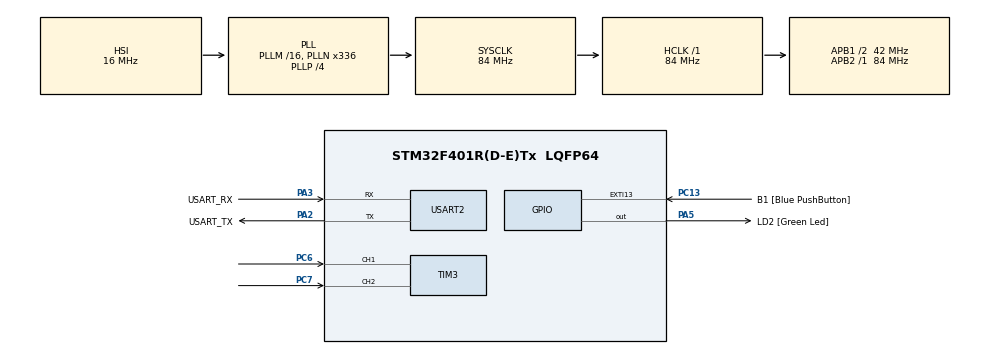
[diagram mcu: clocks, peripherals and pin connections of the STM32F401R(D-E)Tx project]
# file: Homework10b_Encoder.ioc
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Dma.Request0=USART2_TX
Dma.USART2_TX.0.Direction=DMA_MEMORY_TO_PERIPH
Dma.USART2_TX.0.FIFOMode=DMA_FIFOMODE_DISABLE
Dma.USART2_TX.0.Instance=DMA1_Stream6
Dma.USART2_TX.0.MemDataAlignment=DMA_MDATAALIGN_BYTE
Dma.USART2_TX.0.MemInc=DMA_MINC_ENABLE
Dma.USART2_TX.0.Mode=DMA_NORMAL
Dma.USART2_TX.0.PeriphDataAlignment=DMA_PDATAALIGN_BYTE
Dma.USART2_TX.0.PeriphInc=DMA_PINC_DISABLE
Dma.USART2_TX.0.Priority=DMA_PRIORITY_LOW
Mcu.Family=STM32F4
Mcu.Name=STM32F401R(D-E)Tx
Mcu.Package=LQFP64
NVIC.DMA1_Stream6_IRQn=true\:0\:0\:false\:false\:true\:false\:true\:true
NVIC.PriorityGroup=NVIC_PRIORITYGROUP_4
NVIC.TIM2_IRQn=true\:0\:0\:false\:false\:true\:true\:true\:true
NVIC.USART2_IRQn=true\:0\:0\:false\:false\:true\:true\:true\:true
PA13.GPIO_Label=TMS
PA13.Mode=Trace_Asynchronous_SW
PA13.Signal=SYS_JTMS-SWDIO
PA14.GPIO_Label=TCK
PA14.Mode=Trace_Asynchronous_SW
PA14.Signal=SYS_JTCK-SWCLK
PA2.GPIO_Label=USART_TX
PA2.GPIO_Mode=GPIO_MODE_AF_PP
PA2.GPIO_PuPd=GPIO_NOPULL
PA2.GPIO_Speed=GPIO_SPEED_FREQ_LOW
PA2.Mode=Asynchronous
PA2.Signal=USART2_TX
PA3.GPIO_Label=USART_RX
PA3.GPIO_Mode=GPIO_MODE_AF_PP
PA3.GPIO_PuPd=GPIO_NOPULL
PA3.GPIO_Speed=GPIO_SPEED_FREQ_LOW
PA3.Mode=Asynchronous
PA3.Signal=USART2_RX
PA5.GPIO_Label=LD2 [Green Led]
PA5.GPIO_Mode=GPIO_MODE_OUTPUT_PP
PA5.GPIO_PuPd=GPIO_NOPULL
PA5.GPIO_Speed=GPIO_SPEED_FREQ_LOW
PA5.Signal=GPIO_Output
PB3.GPIO_Label=SWO
PB3.Mode=Trace_Asynchronous_SW
PB3.Signal=SYS_JTDO-SWO
PC13-ANTI_TAMP.GPIO_Label=B1 [Blue PushButton]
PC13-ANTI_TAMP.GPIO_ModeDefaultEXTI=GPIO_MODE_IT_FALLING
PC13-ANTI_TAMP.GPIO_PuPd=GPIO_NOPULL
PC13-ANTI_TAMP.Signal=GPXTI13
PC14-OSC32_IN.Mode=LSE-External-Oscillator
PC14-OSC32_IN.Signal=RCC_OSC32_IN
PC15-OSC32_OUT.Mode=LSE-External-Oscillator
PC15-OSC32_OUT.Signal=RCC_OSC32_OUT
PC6.Signal=S_TIM3_CH1
PC7.Signal=S_TIM3_CH2
PH0\ -\ OSC_IN.Mode=HSE-External-Clock-Source
PH0\ -\ OSC_IN.Signal=RCC_OSC_IN
PH1\ -\ OSC_OUT.Mode=HSE-External-Clock-Source
PH1\ -\ OSC_OUT.Signal=RCC_OSC_OUT
ProjectManager.HeapSize=0x200
ProjectManager.StackSize=0x400
ProjectManager.TargetToolchain=STM32CubeIDE
RCC.48MHZClocksFreq_Value=48000000
RCC.AHBFreq_Value=84000000
RCC.APB1CLKDivider=RCC_HCLK_DIV2
RCC.APB1Freq_Value=42000000
RCC.APB1TimFreq_Value=84000000
RCC.APB2Freq_Value=84000000
RCC.APB2TimFreq_Value=84000000
RCC.CortexFreq_Value=84000000
RCC.HCLKFreq_Value=84000000
RCC.HSE_VALUE=8000000
RCC.HSI_VALUE=16000000
RCC.PLLN=336
RCC.PLLP=RCC_PLLP_DIV4
RCC.PLLQ=7
RCC.SYSCLKFreq_VALUE=84000000
RCC.SYSCLKSource=RCC_SYSCLKSOURCE_PLLCLK
RCC.VCOOutputFreq_Value=336000000
SH.S_TIM3_CH1.0=TIM3_CH1,Encoder_Interface
SH.S_TIM3_CH2.0=TIM3_CH2,Encoder_Interface
TIM2.Period=10000-1
TIM2.Prescaler=8400-1
TIM3.EncoderMode=TIM_ENCODERMODE_TI1
TIM3.IC1Filter=15
TIM3.IC1Polarity=TIM_ICPOLARITY_RISING
TIM3.IC2Filter=15
TIM3.IC2Polarity=TIM_ICPOLARITY_FALLING
USART2.VirtualMode=VM_ASYNC
VP_TIM2_VS_ClockSourceINT.Mode=Internal
board=NUCLEO-F401RE

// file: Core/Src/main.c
/* USER CODE BEGIN Header */
/**
  ******************************************************************************
  * @file           : main.c
  * @brief          : Main program body
  ******************************************************************************
  * @attention
  *
  * Copyright (c) 2025 STMicroelectronics.
  * All rights reserved.
  *
  * This software is licensed under terms that can be found in the LICENSE file
  * in the root directory of this software component.
  * If no LICENSE file comes with this software, it is provided AS-IS.
  *
  ******************************************************************************
  * GOAL:
  * Read the encoder position and send to the PC the rotation speed in rpm
  *
  */
/* USER CODE END Header */
#include "main.h"

/* USER CODE BEGIN Includes */
#include "stdio.h"
#include "string.h"
/* USER CODE END Includes */

/* USER CODE BEGIN PTD */

#define STR_LEN 32
#define FULL_CYCLE_RPMS 24.0 //One cycle is 24 counts
#define SEC_TO_MIN 60

/* USER CODE END PTD */

TIM_HandleTypeDef htim2;
TIM_HandleTypeDef htim3;

UART_HandleTypeDef huart2;
DMA_HandleTypeDef hdma_usart2_tx;

/* USER CODE BEGIN PV */

//signed to solve overflow/underflow problem of timer counter
int16_t counter = 0;
int16_t old_counter = 0;
int16_t delta = 0;

float rpm_value = 0;

/*For UART transmission to PC*/
int length = 0;
char string[STR_LEN];

/* USER CODE END PV */

void SystemClock_Config(void);
static void MX_GPIO_Init(void);
static void MX_DMA_Init(void);
static void MX_USART2_UART_Init(void);
static void MX_TIM3_Init(void);
static void MX_TIM2_Init(void);

/* USER CODE BEGIN 0 */

//timer 2 callback called every second
void HAL_TIM_PeriodElapsedCallback (TIM_HandleTypeDef *htim) {

	if (htim == &htim2) {

		/*Getting the counter value*/
		counter = __HAL_TIM_GET_COUNTER(&htim3);

		/*Computing the difference*/
		delta = counter - old_counter;

		/*Updating the value*/
		old_counter = counter;

		/*Computing the RPM value*/
		rpm_value = (delta/FULL_CYCLE_RPMS)*SEC_TO_MIN;	//convert in rpm

		length = snprintf(string, sizeof(string), "Speed: %.1frpm\n", rpm_value);
		HAL_UART_Transmit_DMA(&huart2, string, length);
	}
}
/* USER CODE END 0 */

int main(void)
{

  /* MCU Configuration--------------------------------------------------------*/

  /* Reset of all peripherals, Initializes the Flash interface and the Systick. */
  HAL_Init();

  /* Configure the system clock */
  SystemClock_Config();

  /* Initialize all configured peripherals */
  MX_GPIO_Init();
  MX_DMA_Init();
  MX_USART2_UART_Init();
  MX_TIM3_Init();
  MX_TIM2_Init();
  /* USER CODE BEGIN 2 */

  HAL_TIM_Encoder_Start(&htim3, TIM_CHANNEL_ALL);	//start TIM3 in encoder mode
  __HAL_TIM_CLEAR_IT(&htim2, TIM_IT_UPDATE);		//clear interrupt request BEFORE enabling tim interrupt
  HAL_TIM_Base_Start_IT(&htim2); 					//start TIM2 in interrupt mode

  /* USER CODE END 2 */

  /* Infinite loop */
  while (1)
  {

  }
}

void SystemClock_Config(void)
{
  RCC_OscInitTypeDef RCC_OscInitStruct = {0};
  RCC_ClkInitTypeDef RCC_ClkInitStruct = {0};

  /** Configure the main internal regulator output voltage
  */
  __HAL_RCC_PWR_CLK_ENABLE();
  __HAL_PWR_VOLTAGESCALING_CONFIG(PWR_REGULATOR_VOLTAGE_SCALE2);

  /** Initializes the RCC Oscillators according to the specified parameters
  * in the RCC_OscInitTypeDef structure.
  */
  RCC_OscInitStruct.OscillatorType = RCC_OSCILLATORTYPE_HSI;
  RCC_OscInitStruct.HSIState = RCC_HSI_ON;
  RCC_OscInitStruct.HSICalibrationValue = RCC_HSICALIBRATION_DEFAULT;
  RCC_OscInitStruct.PLL.PLLState = RCC_PLL_ON;
  RCC_OscInitStruct.PLL.PLLSource = RCC_PLLSOURCE_HSI;
  RCC_OscInitStruct.PLL.PLLM = 16;
  RCC_OscInitStruct.PLL.PLLN = 336;
  RCC_OscInitStruct.PLL.PLLP = RCC_PLLP_DIV4;
  RCC_OscInitStruct.PLL.PLLQ = 7;
  if (HAL_RCC_OscConfig(&RCC_OscInitStruct) != HAL_OK)
  {
    Error_Handler();
  }

  /** Initializes the CPU, AHB and APB buses clocks
  */
  RCC_ClkInitStruct.ClockType = RCC_CLOCKTYPE_HCLK|RCC_CLOCKTYPE_SYSCLK
                              |RCC_CLOCKTYPE_PCLK1|RCC_CLOCKTYPE_PCLK2;
  RCC_ClkInitStruct.SYSCLKSource = RCC_SYSCLKSOURCE_PLLCLK;
  RCC_ClkInitStruct.AHBCLKDivider = RCC_SYSCLK_DIV1;
  RCC_ClkInitStruct.APB1CLKDivider = RCC_HCLK_DIV2;
  RCC_ClkInitStruct.APB2CLKDivider = RCC_HCLK_DIV1;

  if (HAL_RCC_ClockConfig(&RCC_ClkInitStruct, FLASH_LATENCY_2) != HAL_OK)
  {
    Error_Handler();
  }
}

static void MX_TIM2_Init(void)
{

  TIM_ClockConfigTypeDef sClockSourceConfig = {0};
  TIM_MasterConfigTypeDef sMasterConfig = {0};

  htim2.Instance = TIM2;
  htim2.Init.Prescaler = 8400-1;
  htim2.Init.CounterMode = TIM_COUNTERMODE_UP;
  htim2.Init.Period = 10000-1;
  htim2.Init.ClockDivision = TIM_CLOCKDIVISION_DIV1;
  htim2.Init.AutoReloadPreload = TIM_AUTORELOAD_PRELOAD_DISABLE;
  if (HAL_TIM_Base_Init(&htim2) != HAL_OK)
  {
    Error_Handler();
  }
  sClockSourceConfig.ClockSource = TIM_CLOCKSOURCE_INTERNAL;
  if (HAL_TIM_ConfigClockSource(&htim2, &sClockSourceConfig) != HAL_OK)
  {
    Error_Handler();
  }
  sMasterConfig.MasterOutputTrigger = TIM_TRGO_RESET;
  sMasterConfig.MasterSlaveMode = TIM_MASTERSLAVEMODE_DISABLE;
  if (HAL_TIMEx_MasterConfigSynchronization(&htim2, &sMasterConfig) != HAL_OK)
  {
    Error_Handler();
  }

}

static void MX_TIM3_Init(void)
{

  TIM_Encoder_InitTypeDef sConfig = {0};
  TIM_MasterConfigTypeDef sMasterConfig = {0};

  htim3.Instance = TIM3;
  htim3.Init.Prescaler = 0;
  htim3.Init.CounterMode = TIM_COUNTERMODE_UP;
  htim3.Init.Period = 65535;
  htim3.Init.ClockDivision = TIM_CLOCKDIVISION_DIV1;
  htim3.Init.AutoReloadPreload = TIM_AUTORELOAD_PRELOAD_DISABLE;
  sConfig.EncoderMode = TIM_ENCODERMODE_TI1;
  sConfig.IC1Polarity = TIM_ICPOLARITY_RISING;
  sConfig.IC1Selection = TIM_ICSELECTION_DIRECTTI;
  sConfig.IC1Prescaler = TIM_ICPSC_DIV1;
  sConfig.IC1Filter = 15;
  sConfig.IC2Polarity = TIM_ICPOLARITY_FALLING;
  sConfig.IC2Selection = TIM_ICSELECTION_DIRECTTI;
  sConfig.IC2Prescaler = TIM_ICPSC_DIV1;
  sConfig.IC2Filter = 15;
  if (HAL_TIM_Encoder_Init(&htim3, &sConfig) != HAL_OK)
  {
    Error_Handler();
  }
  sMasterConfig.MasterOutputTrigger = TIM_TRGO_RESET;
  sMasterConfig.MasterSlaveMode = TIM_MASTERSLAVEMODE_DISABLE;
  if (HAL_TIMEx_MasterConfigSynchronization(&htim3, &sMasterConfig) != HAL_OK)
  {
    Error_Handler();
  }

}

static void MX_USART2_UART_Init(void)
{

  huart2.Instance = USART2;
  huart2.Init.BaudRate = 115200;
  huart2.Init.WordLength = UART_WORDLENGTH_8B;
  huart2.Init.StopBits = UART_STOPBITS_1;
  huart2.Init.Parity = UART_PARITY_NONE;
  huart2.Init.Mode = UART_MODE_TX_RX;
  huart2.Init.HwFlowCtl = UART_HWCONTROL_NONE;
  huart2.Init.OverSampling = UART_OVERSAMPLING_16;
  if (HAL_UART_Init(&huart2) != HAL_OK)
  {
    Error_Handler();
  }

}

static void MX_DMA_Init(void)
{

  /* DMA controller clock enable */
  __HAL_RCC_DMA1_CLK_ENABLE();

  /* DMA interrupt init */
  /* DMA1_Stream6_IRQn interrupt configuration */
  HAL_NVIC_SetPriority(DMA1_Stream6_IRQn, 0, 0);
  HAL_NVIC_EnableIRQ(DMA1_Stream6_IRQn);

}

static void MX_GPIO_Init(void)
{
  GPIO_InitTypeDef GPIO_InitStruct = {0};

  /* GPIO Ports Clock Enable */
  __HAL_RCC_GPIOC_CLK_ENABLE();
  __HAL_RCC_GPIOH_CLK_ENABLE();
  __HAL_RCC_GPIOA_CLK_ENABLE();
  __HAL_RCC_GPIOB_CLK_ENABLE();

  /*Configure GPIO pin Output Level */
  HAL_GPIO_WritePin(LD2_GPIO_Port, LD2_Pin, GPIO_PIN_RESET);

  /*Configure GPIO pin : B1_Pin */
  GPIO_InitStruct.Pin = B1_Pin;
  GPIO_InitStruct.Mode = GPIO_MODE_IT_FALLING;
  GPIO_InitStruct.Pull = GPIO_NOPULL;
  HAL_GPIO_Init(B1_GPIO_Port, &GPIO_InitStruct);

  /*Configure GPIO pin : LD2_Pin */
  GPIO_InitStruct.Pin = LD2_Pin;
  GPIO_InitStruct.Mode = GPIO_MODE_OUTPUT_PP;
  GPIO_InitStruct.Pull = GPIO_NOPULL;
  GPIO_InitStruct.Speed = GPIO_SPEED_FREQ_LOW;
  HAL_GPIO_Init(LD2_GPIO_Port, &GPIO_InitStruct);

}

void Error_Handler(void)
{
  __disable_irq();
  while (1)
  {
  }
}
